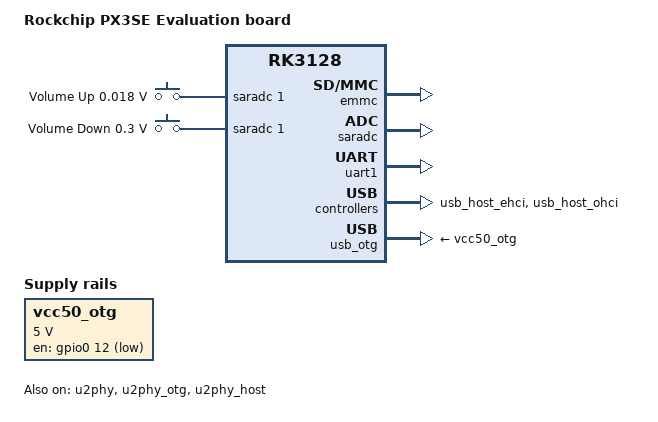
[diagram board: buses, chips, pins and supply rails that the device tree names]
/*
 * (C) Copyright 2018 Rockchip Electronics Co., Ltd
 *
 * SPDX-License-Identifier:     GPL-2.0+
 */

/dts-v1/;

#include <dt-bindings/input/input.h>
#include "rk3128.dtsi"
#include "rk3128-u-boot.dtsi"

/ {
	model = "Rockchip PX3SE Evaluation board";
	compatible = "rockchip,px3se-evb", "rockchip,px3se";

	chosen {
		stdout-path = &uart1;
	};

	adc-keys {
		compatible = "adc-keys";
		io-channels = <&saradc 1>;
		io-channel-names = "buttons";
		poll-interval = <100>;
		keyup-threshold-microvolt = <1800000>;

		vol-up {
			label = "Volume Up";
			linux,code = <KEY_VOLUMEUP>;
			press-threshold-microvolt = <18000>;
		};

		vol-down {
			label = "Volume Down";
			linux,code = <KEY_VOLUMEDOWN>;
			press-threshold-microvolt = <300000>;
		};
	};

	vcc50_otg: vcc50-otg {
		compatible = "regulator-fixed";
		regulator-name = "vcc50_otg";
		gpio = <&gpio0 12 GPIO_ACTIVE_HIGH>;
		pinctrl-names = "default";
		pinctrl-0 = <&otg_drv>;
		regulator-min-microvolt = <5000000>;
		regulator-max-microvolt = <5000000>;
	};
};

&emmc {
	fifo-mode;
	status = "okay";
};

&saradc {
	status = "okay";
};

&u2phy {
	status = "okay";
};

&u2phy_otg {
	status = "okay";
};

&u2phy_host {
	status = "okay";
};

&uart1 {
	status = "okay";
};

&usb_host_ehci {
	status = "okay";
};

&usb_host_ohci {
	status = "okay";
};

&usb_otg {
	vbus-supply = <&vcc50_otg>;
	status = "okay";
};

&pinctrl {
	usb_otg {
		otg_drv: otg-drv {
			rockchip,pins = <2 12 RK_FUNC_GPIO &pcfg_pull_none>;
		};
	};
};
